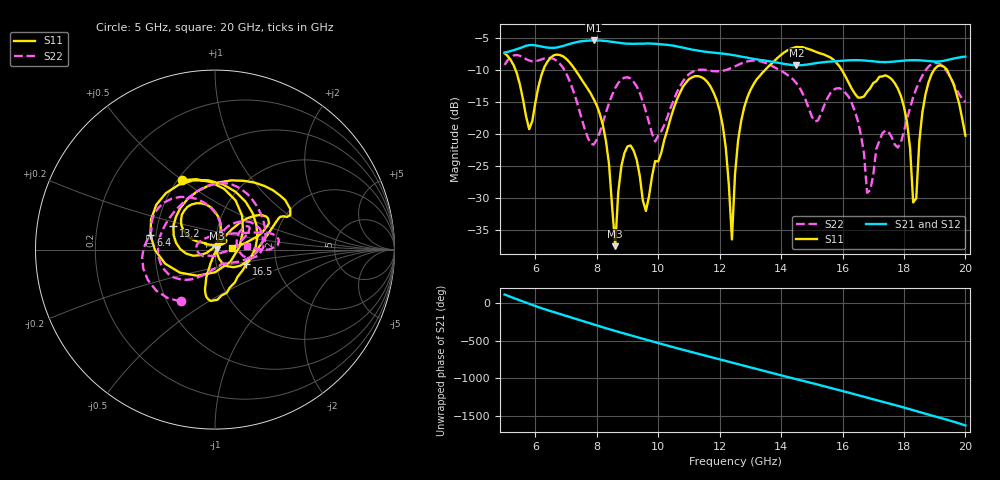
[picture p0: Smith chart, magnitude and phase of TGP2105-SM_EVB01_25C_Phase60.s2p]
! Date: Wednesday, June 05, 2013  1:53 PM
! Filename: C:\Data\Mike_Arnold\TGP2105-SM\Over_Temp\TGP2105-SM_EVB01_25C_Phase60.s2p
! Comments:
!^VDC(V):5.000
!^VDC(mA):0.122
!%Freq(GHz),S11(dB),S11(ang),S21(dB),S21(ang),S12(dB),S12(ang),S22(dB),S22(ang)
# GHz  S  DB  R  50
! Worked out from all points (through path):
!   151 points, 5 GHz to 20 GHz, reference 50 ohm
!   highest |S21| = -5.39 dB at 7.9 GHz (marker M1); lowest = -9.3 dB at 14.5 GHz (marker M2)
!   lowest |S11| = -37.5 dB at 8.6 GHz (marker M3), VSWR 1.03, Z = 51.3 + j0.471 ohm
!   |S11| at or under -10 dB: 5.356 GHz to 6.261 GHz (905.2 MHz wide, 15.6 % of centre); 7.302 GHz to 13.48 GHz (6.176 GHz wide, 59.4 % of centre); 15.98 GHz to 18.98 GHz (3.004 GHz wide, 17.2 % of centre)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
!   |S22| runs from -29.2 to -7.7 dB; largest |S21 - S12| = 0.0021
!   S11 on the Smith chart (normalised r, x): 5 GHz: 0.53, +0.50; 6.4 GHz: 0.47, +0.09; 13.2 GHz: 0.61, +0.17; 16.5 GHz: 1.40, -0.24; 20 GHz: 1.21, +0.02
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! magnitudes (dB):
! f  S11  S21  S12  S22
! 5 GHz  -7.4  -7.3  -7.3  -9.2
! 5.8 GHz  -19.2  -6.1  -6.1  -8.5
! 6.4 GHz  -8.7  -6.5  -6.5  -8.1
! 7.5 GHz  -11.4  -5.5  -5.5  -17.4
! 7.9 GHz  -14.5  -5.4  -5.4  -21.6
! 8.6 GHz  -37.5  -5.7  -5.7  -12.8
! 9 GHz  -21.9  -5.9  -5.9  -11.1
! 9.6 GHz  -32.0  -5.9  -5.9  -16.5
! 10 GHz  -24.3  -5.9  -6.0  -20.3
! 11.3 GHz  -11.0  -7.0  -7.0  -10.0
! 12 GHz  -16.3  -7.4  -7.4  -10.2
! 12.4 GHz  -36.4  -7.6  -7.7  -9.7
! 12.5 GHz  -26.3  -7.7  -7.7  -9.4
! 13.2 GHz  -11.5  -8.3  -8.4  -8.5
! 14.5 GHz  -6.4  -9.3  -9.3  -12.1
! 15 GHz  -6.9  -9.0  -9.1  -17.3
! 16.5 GHz  -14.3  -8.5  -8.5  -17.9
! 16.8 GHz  -13.4  -8.6  -8.6  -29.2
! 17.5 GHz  -11.1  -8.8  -8.8  -19.7
! 18.3 GHz  -30.7  -8.5  -8.5  -14.2
! 19 GHz  -9.8  -8.7  -8.7  -8.9
! 20 GHz  -20.2  -7.9  -7.9  -15.0
